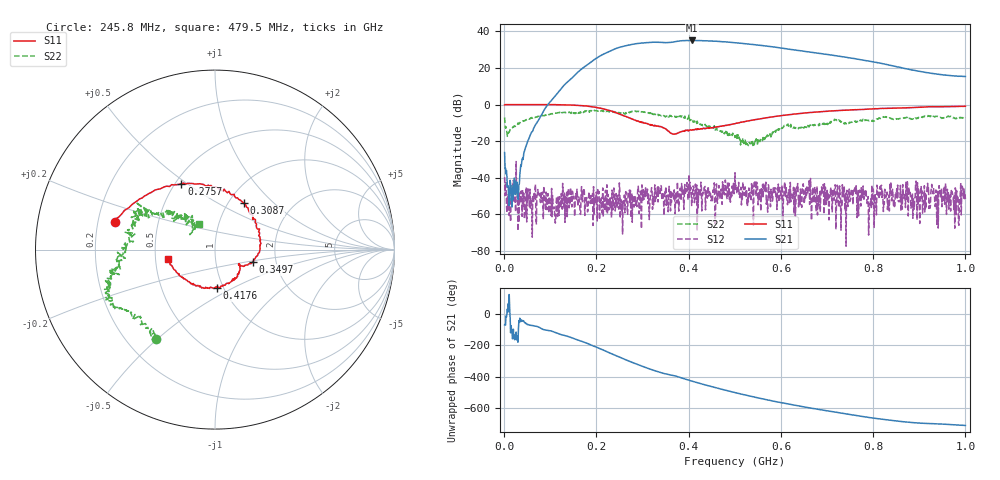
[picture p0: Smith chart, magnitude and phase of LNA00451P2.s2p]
! Created with skrf 1.9.0 (http://scikit-rf.org).
# Hz S RI R 50.0
!freq ReS11 ImS11 ReS21 ImS21 ReS12 ImS12 ReS22 ImS22
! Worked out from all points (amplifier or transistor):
!   1001 points, 1 MHz to 1 GHz, reference 50 ohm
!   highest |S21| = 35.1 dB at 406.6 MHz (marker M1)
!   |S21| within 3 dB of that: 261.9 MHz to 565.9 MHz (304 MHz wide, 73.4 % of centre)
!   unconditionally stable (mu >= 1): 145.1 MHz to 166.7 MHz; 223 MHz to 400.3 MHz; 400.9 MHz to end of sweep (the widest 3 of 40)
!   at 166.8 MHz: K = 0.53, MSG = 34.0 dB, |S12| = -48.7 dB
!   at 500.5 MHz: K = 1.03, MAG = 34.6 dB, |S12| = -37.3 dB
!   at 1 GHz: K = 5.20, MAG = 23.4 dB, |S12| = -51.6 dB
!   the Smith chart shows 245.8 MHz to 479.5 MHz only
!   S11 on the Smith chart (normalised r, x): 245.8 MHz: 0.27, +0.13; 275.7 MHz: 0.54, +0.47; 308.7 MHz: 1.18, +0.67; 349.7 MHz: 1.51, -0.22; 417.6 MHz: 0.93, -0.42; 479.5 MHz: 0.58, -0.07
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1000000  0.98 0.00711  0.0164 -0.0458  -0.0103 0.0011  0.3408 0.2869
1.09891e8  0.5249 -0.8495  -0.7706 -1.487  0.000617 0.000377  0.4532 -0.3683
1.67833e8  -0.1989 -0.9126  -9.357 -0.9444  -0.000497 -0.00569  0.0461 -0.6334
2.11789e8  -0.675 -0.3953  -15.65 16.44  -0.00107 -0.000208  -0.1889 -0.6443
2.45755e8  -0.5548 0.1553  -0.1558 35.32  -4.73e-05 -0.00284  -0.3301 -0.4961
2.75725e8  -0.1874 0.3665  26.33 35.26  -0.000587 0.00244  -0.5667 -0.3196
3.08692e8  0.1615 0.2584  47.47 14.3  -0.00205 0.00289  -0.5778 -0.1472
3.34666e8  0.2556 0.0329  49.94 -7.938  0.000693 0.00555  -0.4998 -0.0484
3.49651e8  0.2092 -0.0692  46.21 -18.02  -0.00308 0.00242  -0.4541 0.0454
3.77623e8  0.137 -0.0969  41.38 -35.47  0.00137 0.00252  -0.4532 0.2139
4.06594e8  0.0646 -0.1882  22.23 -52.18  0.00103 0.0014  -0.3245 0.1968
4.17583e8  0.0113 -0.2144  13.06 -54.8  1.46e-05 0.00632  -0.227 0.2014
4.45555e8  -0.1359 -0.1847  -8.559 -54.21  0.00266 0.00356  -0.1864 0.1776
4.79521e8  -0.2637 -0.0524  -29.87 -42.57  0.00782 0.00382  -0.0906 0.1435
5.005e8  -0.2915 0.0718  -38.12 -31.64  0.0111 -0.00804  -0.1106 0.0612
5.4046e8  -0.2573 0.2822  -42.63 -9.573  -0.000438 -0.000253  -0.0822 -0.0209
5.88412e8  -0.0752 0.4688  -35.25 11.14  0.00332 -0.00178  -0.1541 -0.0836
6.25375e8  0.0947 0.5368  -24.82 19.55  0.00126 -0.00239  -0.2101 -0.1143
6.67333e8  0.2932 0.5373  -13.31 23.14  0.00212 0.000816  -0.2631 -0.0387
7.53247e8  0.603 0.3905  3.647 18.21  0.00242 -0.00375  -0.3213 0.0592
8.34166e8  0.7735 0.172  8.569 8.539  0.002 -0.0027  -0.4047 0.13
1e9  0.8257 -0.3594  5.774 1.113  -0.00239 -0.00111  -0.1227 0.424
